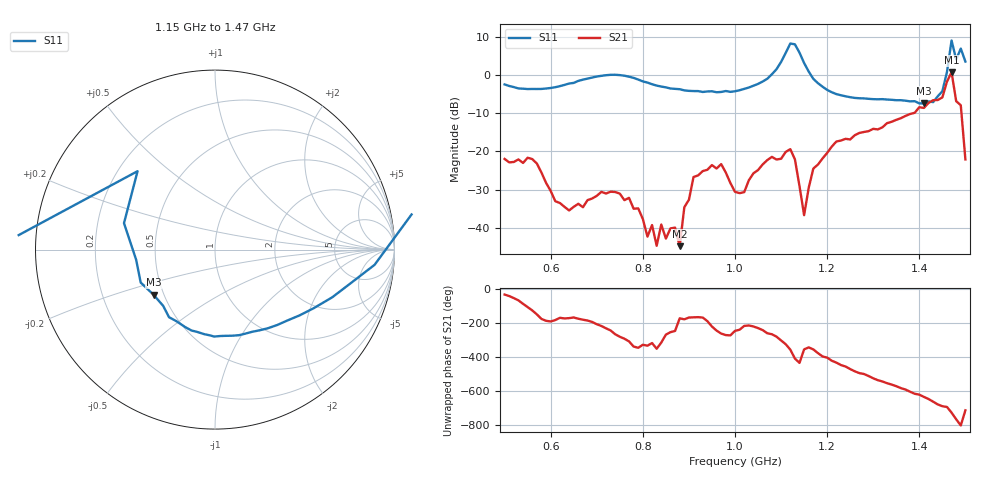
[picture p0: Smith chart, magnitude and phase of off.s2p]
# HZ S RI R 50
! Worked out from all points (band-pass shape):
!   101 points, 500 MHz to 1.5 GHz, reference 50 ohm
!   highest |S21| = 0.74 dB at 1.47 GHz (marker M1); lowest = -44.8 dB at 880 MHz (marker M2)
!   |S21| within 3 dB of the highest: 1.459 GHz to 1.474 GHz (15.29 MHz wide, 1.04 % of centre)
!   lowest |S11| = -7.4 dB at 1.41 GHz (marker M3), VSWR 2.48, Z = 22 - j13.5 ohm
!   |S11| at or under -10 dB: nowhere
!   S12 and S22 are empty: the file has one direction only
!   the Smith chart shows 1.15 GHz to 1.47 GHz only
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5e8  -0.6955 0.2941  0.0679 -0.0419  0 0  0 0
5.8e8  0.194 0.6298  -0.0527 -0.00448  0 0  0 0
6.7e8  0.8452 -0.2157  -0.0186 -0.000156  0 0  0 0
7.4e8  0.1103 -1.005  -0.00258 0.0293  0 0  0 0
8.4e8  -0.5482 -0.4489  0.00768 0.00795  0 0  0 0
8.8e8  -0.4572 -0.4674  -0.00568 -0.000877  0 0  0 0
9.1e8  -0.3293 -0.5232  -0.0448 -0.0115  0 0  0 0
1e9  -0.1587 -0.5934  -0.0124 0.0268  0 0  0 0
1.08e9  -0.9167 -0.4575  -0.00751 0.0846  0 0  0 0
1.11e9  -1.853 0.6108  0.0793 0.0585  0 0  0 0
1.12e9  -1.624 2.019  0.1069 0.00915  0 0  0 0
1.13e9  0.2168 2.522  0.053 -0.0585  0 0  0 0
1.14e9  1.261 1.509  0.01 -0.0337  0 0  0 0
1.17e9  0.8891 -0.0848  0.0594 0.00609  0 0  0 0
1.34e9  -0.0588 -0.4715  -0.2288 0.0871  0 0  0 0
1.41e9  -0.3423 -0.2516  0.0212 0.3712  0 0  0 0
1.45e9  -0.4314 0.437  0.4323 0.2706  0 0  0 0
1.46e9  -1.094 0.0807  0.7283 0.3805  0 0  0 0
1.47e9  -2.638 1.062  1.084 -0.1109  0 0  0 0
1.48e9  0.0388 1.601  0.323 -0.3211  0 0  0 0
1.49e9  0.6846 2.117  0.0625 -0.3985  0 0  0 0
1.5e9  1.395 0.5652  0.078 0.0107  0 0  0 0
